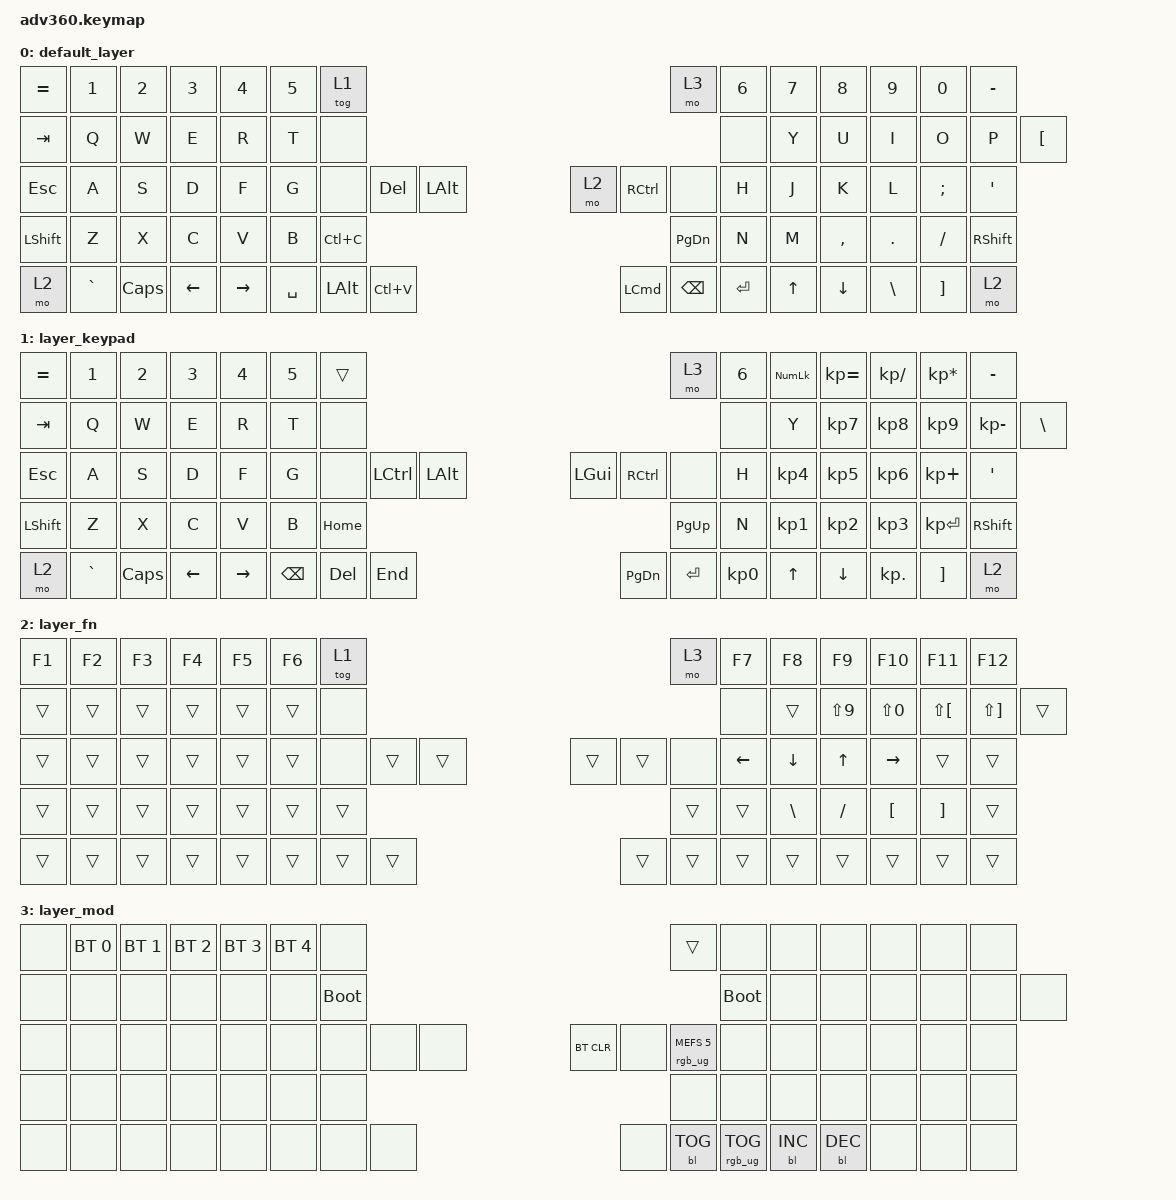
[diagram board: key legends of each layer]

/*
 * Copyright (c) 2020 The ZMK Contributors
 *
 * SPDX-License-Identifier: MIT
 */


/* THIS FILE WAS GENERATED!
 *
 * This file was generated automatically. You may or may not want to
 * edit it directly.
 */

#include <behaviors.dtsi>
#include <dt-bindings/zmk/keys.h>
#include <dt-bindings/zmk/bt.h>
#include <dt-bindings/zmk/rgb.h>
#include <dt-bindings/zmk/backlight.h>

/ {
  behaviors {
    #include "macros.dtsi"

    hm: homerow_mods {
        compatible = "zmk,behavior-hold-tap";
        label = "HOMEROW_MODS";
        #binding-cells = <2>;
        tapping-term-ms = <200>;
        quick_tap_ms = <175>;
        flavor = "tap-preferred";
        bindings = <&kp>, <&kp>;
    };
  };

/*
    combos {
        compatible = "zmk,combos";
        ctrl-j {
            timeout-ms = <500>;
            key-positions = <38 41>;  // LCtrl (38) and J (41)
            bindings = <&kp LS(N9)>;  // Outputs "("
        };
        ctrl-k {
            timeout-ms = <500>;
            key-positions = <38 42>;  // LCtrl (38) and K (42)
            bindings = <&kp LS(N0)>;  // Outputs ")"
        };
        ctrl-l {
            timeout-ms = <500>;
            key-positions = <38 43>;  // LCtrl (38) and L (43)
            bindings = <&kp LS(LBKT)>;  // Outputs "{"
        };
        ctrl-semicolon {
            timeout-ms = <500>;
            key-positions = <38 44>;  // LCtrl (38) and Semicolon (44)
            bindings = <&kp LS(RBKT)>;  // Outputs "}"
        };
        home {
            timeout-ms = <500>;
            key-positions = <52>;  // Home key (52)
            bindings = <&kp LC(C)>;  // Outputs Ctrl+C
        };
        end {
            timeout-ms = <500>;
            key-positions = <67>;  // End key (67)
            bindings = <&kp LC(V)>;  // Outputs Ctrl+V
        };
    };
*/



    keymap {
        compatible = "zmk,keymap";


        default_layer {
            bindings = <
 &kp EQUAL     &kp N1    &kp N2    &kp N3     &kp N4  &kp N5               &tog 1                                                                             &mo 3  &kp N6  &kp N7     &kp N8    &kp N9    &kp N0   &kp MINUS
   &kp TAB      &kp Q     &kp W     &kp E      &kp R   &kp T                &none                                                                             &none   &kp Y   &kp U     &kp I     &kp O     &kp P    &kp LBKT
   &kp ESC      &kp A     &kp S     &kp D      &kp F   &kp G                &none  &kp DEL     &kp LALT                        &mo 2      &kp RCTRL           &none   &kp H   &kp J     &kp K     &kp L     &kp SEMI &kp SQT
 &kp LSHFT      &kp Z     &kp X     &kp C      &kp V   &kp B                                 &kp LC(C)                         &kp PG_DN                             &kp N   &kp M  &kp COMMA   &kp DOT  &kp FSLH  &kp RSHFT
     &mo 2  &kp GRAVE  &kp CAPS  &kp LEFT  &kp RIGHT                    &kp SPACE  &kp LALT  &kp LC(V)                  &kp LEFT_COMMAND  &kp BACKSPACE  &kp ENTER          &kp UP   &kp DOWN  &kp BSLH  &kp RBKT      &mo 2
            >;
        };

        layer_keypad {
            bindings = <
 &kp EQUAL     &kp N1    &kp N2    &kp N3     &kp N4  &kp N5              &trans                                                                 &mo 3  &kp N6  &kp KP_NUM  &kp KP_EQUAL  &kp KP_DIVIDE  &kp KP_MULTIPLY  &kp MINUS
   &kp TAB      &kp Q     &kp W     &kp E      &kp R   &kp T               &none                                                                 &none   &kp Y   &kp KP_N7     &kp KP_N8      &kp KP_N9     &kp KP_MINUS   &kp BSLH
   &kp ESC      &kp A     &kp S     &kp D      &kp F   &kp G               &none  &kp LCTRL  &kp LALT                   &kp LGUI  &kp RCTRL      &none   &kp H   &kp KP_N4     &kp KP_N5      &kp KP_N6      &kp KP_PLUS    &kp SQT
 &kp LSHFT      &kp Z     &kp X     &kp C      &kp V   &kp B                                 &kp HOME                  &kp PG_UP                         &kp N   &kp KP_N1     &kp KP_N2      &kp KP_N3     &kp KP_ENTER  &kp RSHFT
     &mo 2  &kp GRAVE  &kp CAPS  &kp LEFT  &kp RIGHT                    &kp BSPC    &kp DEL   &kp END                  &kp PG_DN  &kp ENTER  &kp KP_N0              &kp UP      &kp DOWN     &kp KP_DOT         &kp RBKT      &mo 2
            >;
        };

        layer_fn {
            bindings = <
 &kp F1  &kp F2  &kp F3  &kp F4  &kp F5  &kp F6            &tog 1                                                   &mo 3  &kp F7  &kp F8  &kp F9  &kp F10   &kp F11  &kp F12
 &trans  &trans  &trans  &trans  &trans  &trans             &none                                                   &none  &trans  &kp LS(N9) &kp LS(N0) &kp LS(LBKT) &kp LS(RBKT) &trans
 &trans  &trans  &trans  &trans  &trans  &trans             &none  &trans  &trans                  &trans  &trans   &none  &kp LEFT  &kp DOWN  &kp UP   &kp RIGHT   &trans   &trans
 &trans  &trans  &trans  &trans  &trans  &trans                            &trans                  &trans                  &trans  &kp BSLH  &kp FSLH   &kp LBKT   &kp RBKT   &trans
 &trans  &trans  &trans  &trans  &trans                    &trans  &trans  &trans                  &trans  &trans  &trans          &trans  &trans   &trans   &trans   &trans
            >;
        };

        layer_mod {
            bindings = <
  &none  &bt BT_SEL 0  &bt BT_SEL 1  &bt BT_SEL 2  &bt BT_SEL 3  &bt BT_SEL 4                  &none                                                                          &trans   &none       &none       &none   &none   &none   &none
  &none         &none         &none         &none         &none         &none            &bootloader                                                                     &bootloader   &none       &none       &none   &none   &none   &none
  &none         &none         &none         &none         &none         &none                  &none   &none   &none                  &bt BT_CLR       &none  &rgb_ug RGB_MEFS_CMD 5   &none       &none       &none   &none   &none   &none
  &none         &none         &none         &none         &none         &none                                  &none                       &none                                       &none       &none       &none   &none   &none   &none
  &none         &none         &none         &none         &none                                &none   &none   &none                       &none  &bl BL_TOG         &rgb_ug RGB_TOG          &bl BL_INC  &bl BL_DEC   &none   &none   &none
            >;
        };

    };
};
